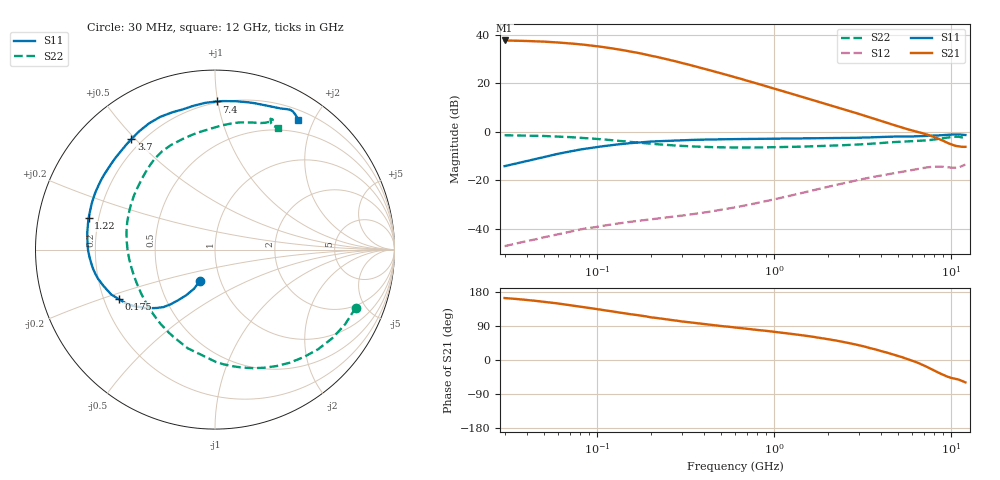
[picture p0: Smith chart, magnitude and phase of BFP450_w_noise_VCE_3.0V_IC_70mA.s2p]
! (c) 2015  Infineon Technologies AG, Munich
! Infineon Technologies  Discrete & RF Semiconductors
! BFP450
! VCE =  3.0 V,  IC =  70 mA
! Common Emitter S-Parameters:  Nov 2015
# GHz  S  MA  R  50
!  f  S11  S21  S12  S22
! GHz  MAG  ANG  MAG  ANG  MAG  ANG  MAG  ANG
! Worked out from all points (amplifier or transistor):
!   239 points, 30 MHz to 12 GHz, reference 50 ohm
!   highest |S21| = 37.6 dB at 30 MHz (marker M1)
!   |S21| within 3 dB of that: start of sweep to 114.9 MHz
!   unconditionally stable (mu >= 1): 1.038 GHz to end of sweep
!   at 300 MHz: K = 0.63, MSG = 31.5 dB, |S12| = -34.6 dB
!   at 1.88 GHz: K = 1.08, MAG = 15.7 dB, |S12| = -23.2 dB
!   at 12 GHz: K = 1.09, MAG = 1.9 dB, |S12| = -13.5 dB
!   lowest NFmin = 1.81 dB at 450 MHz
!   S11 on the Smith chart (normalised r, x): 30 MHz: 0.80, -0.29; 175 MHz: 0.26, -0.23; 1.22 GHz: 0.16, +0.12; 3.7 GHz: 0.16, +0.49; 7.4 GHz: 0.19, +0.99; 12 GHz: 0.32, +1.79
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0.03  0.1959 -115.8  76.1 163.5  0.0044 77.6  0.8486 -22.4
0.04  0.2493 -118.3  74.2 158.5  0.0056 73.7  0.8358 -29.9
0.05  0.3025 -122.4  71.96 153.4  0.0067 71.7  0.8189 -37.1
0.06  0.3511 -126.2  69.13 149.2  0.0077 67.6  0.7988 -44.0
0.07  0.393 -129.1  66.23 144.6  0.0087 65.8  0.7766 -50.5
0.085  0.4451 -133.5  61.93 139.2  0.0101 62.3  0.7433 -59.4
0.1  0.4871 -137.9  57.73 134.2  0.011 59.4  0.7123 -67.6
0.12  0.5284 -142.8  52.57 128.5  0.0123 55.8  0.6737 -77.2
0.15  0.5805 -149.0  45.85 121.4  0.0138 53.5  0.6263 -89.5
0.175  0.6037 -152.9  41.31 117.5  0.0147 52.3  0.5926 -97.1
0.2  0.6294 -156.5  37.02 112.7  0.0157 51.2  0.5704 -105.4
0.24  0.6483 -160.9  32.05 108.0  0.017 50.8  0.5401 -114.8
0.3  0.672 -166.1  26.19 101.8  0.0187 51.2  0.5124 -126.6
0.36  0.6842 -169.9  22.13 97.5  0.0205 52.0  0.4956 -135.2
0.6  0.7074 -179.8  13.27 85.7  0.0277 55.5  0.4749 -156.4
0.8  0.7144 174.7  9.809 79.3  0.0341 57.1  0.4759 -166.5
1.22  0.7261 165.9  6.236 69.6  0.0479 56.8  0.488 179.4
1.64  0.7345 158.4  4.528 61.6  0.0617 54.2  0.5021 169.3
3.7  0.7717 127.1  1.844 28.3  0.1191 32.0  0.5741 133.5
4.5  0.7936 117.6  1.458 17.1  0.1354 23.9  0.6068 123.8
7.4  0.8255 89.3  0.862 -19.9  0.186 -6.6  0.6697 93.6
12  0.8588 57.3  0.49 -59.0  0.2108 -40.8  0.7636 62.6
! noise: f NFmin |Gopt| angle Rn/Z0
0.45  1.81  0.59  -172  0.06
0.9  1.85  0.61  -167  0.07
1.9  1.95  0.64  -151  0.13
2.4  2.04  0.64  -142  0.18
